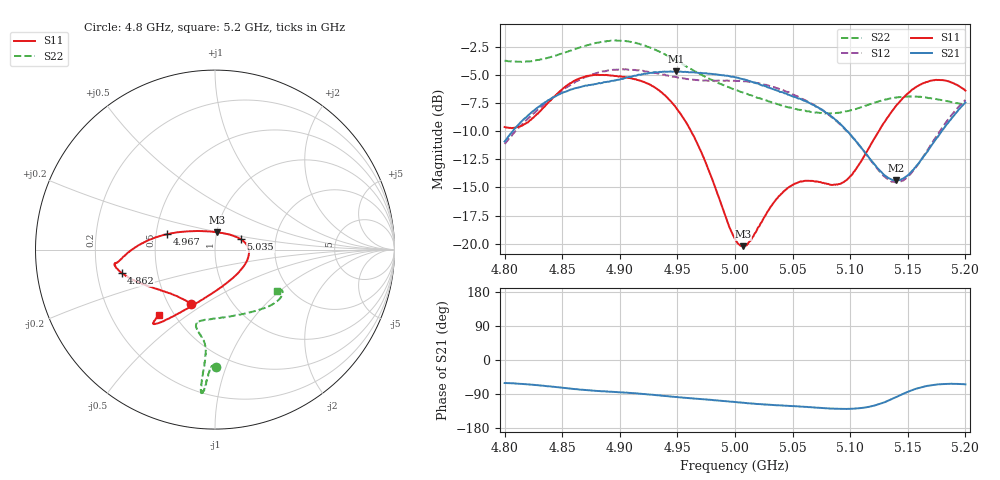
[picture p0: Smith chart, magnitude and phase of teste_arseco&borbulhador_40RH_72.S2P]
! Network Analyzer HP8722D
! Hewlett-Packard
! Data name: Linha & Wilkinson
! Saver's name: Rodrigo Anjos
! Comments: Teste da utilização de aquisição
! continua pelo VNA HP8722D
! Time and date: 15/4/2025 16:57
!  Frequency  S11  S21  S12  S22
# HZ  S  MA R 50
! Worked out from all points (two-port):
!   401 points, 4.8 GHz to 5.2 GHz, reference 50 ohm
!   highest |S21| = -4.65 dB at 4.949 GHz (marker M1); lowest = -14.4 dB at 5.14 GHz (marker M2)
!   |S21| within 3 dB of the highest: 4.832 GHz to 5.068 GHz (236.8 MHz wide, 4.78 % of centre); 5.19784 GHz to end of sweep
!   lowest |S11| = -20.2 dB at 5.007 GHz (marker M3), VSWR 1.22, Z = 50.4 + j9.81 ohm
!   |S11| at or under -10 dB: 4.962 GHz to 5.125 GHz (162.7 MHz wide, 3.23 % of centre)
!   |S22| runs from -8.4 to -1.9 dB; largest |S21 - S12| = 0.88
!   S11 on the Smith chart (normalised r, x): 4.8 GHz: 0.65, -0.44; 4.862 GHz: 0.31, -0.11; 4.967 GHz: 0.57, +0.11; 5.035 GHz: 1.33, +0.16; 5.2 GHz: 0.41, -0.39
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4.8e9  0.3309 -114.0  0.285 -60.8  0.2781 -175.2  0.6538 -89.7
4.819e9  0.3451 -133.8  0.3667 -63.9  0.3554 -173.5  0.649 -91.3
4.862e9  0.5363 -166.0  0.4936 -76.8  0.5286 -176.7  0.7399 -93.7
4.867e9  0.5492 -167.8  0.5012 -78.4  0.5429 -177.6  0.7545 -93.9
4.902e9  0.5539 -172.4  0.5418 -85.6  0.5974 175.1  0.8019 -95.5
4.934e9  0.4832 -178.2  0.5815 -93.5  0.5726 171.9  0.7194 -95.7
4.949e9  0.4025 174.8  0.5855 -97.5  0.5531 172.1  0.6548 -95.3
4.967e9  0.2812 162.3  0.5786 -102.2  0.536 173.9  0.5786 -95.1
5e9  0.1049 105.8  0.5519 -110.9  0.5323 176.4  0.485 -99.4
5.007e9  0.09734 81.8  0.5406 -112.7  0.5302 176.1  0.4716 -101.1
5.014e9  0.1037 59.5  0.5276 -114.6  0.5255 175.9  0.4591 -102.6
5.035e9  0.1553 21.7  0.4843 -119.1  0.4965 175.0  0.4225 -104.1
5.05e9  0.1825 6.1  0.4534 -121.7  0.4624 174.2  0.4012 -100.3
5.067e9  0.1903 -12.3  0.4167 -124.9  0.4197 173.8  0.3847 -91.7
5.085e9  0.1825 -41.0  0.3643 -128.3  0.3632 173.6  0.3809 -78.3
5.097e9  0.192 -65.9  0.3183 -129.1  0.317 174.6  0.389 -68.3
5.134e9  0.3749 -116.6  0.1952 -106.1  0.1914 -158.9  0.4426 -43.3
5.14e9  0.4126 -120.1  0.1913 -97.9  0.1879 -149.5  0.4479 -40.7
5.152e9  0.4763 -124.9  0.2062 -81.6  0.2031 -130.8  0.4527 -36.3
5.17e9  0.5324 -128.8  0.2711 -66.9  0.2756 -112.9  0.4451 -32.2
5.184e9  0.5311 -130.2  0.3409 -63.1  0.352 -107.3  0.4317 -31.2
5.2e9  0.4808 -130.6  0.4258 -64.3  0.4369 -106.3  0.4156 -33.5
